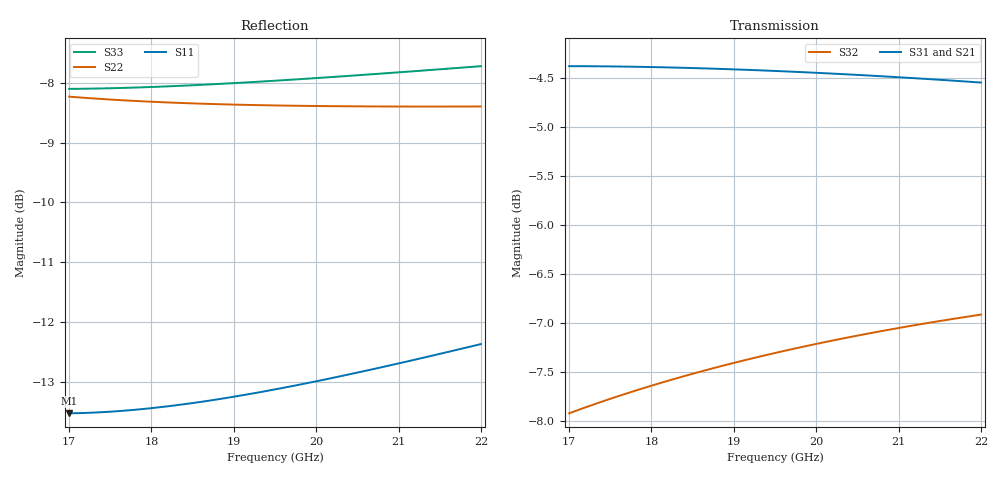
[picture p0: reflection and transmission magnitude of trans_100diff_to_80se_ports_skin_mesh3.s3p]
#  GHZ S DB R 50.0
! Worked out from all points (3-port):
!   51 points, 17 GHz to 22 GHz, reference 50 ohm
!   strongest paths, dB at 17 GHz, 18.2 GHz, 19.5 GHz, 20.8 GHz, 22 GHz:
!     S31: -4.4, -4.4, -4.4, -4.5, -4.5
!     S21: -4.6, -4.5, -4.5, -4.5, -4.5
!     S32: -7.9, -7.6, -7.3, -7.1, -6.9
!   lowest |S11| = -13.5 dB at 17 GHz (marker M1), VSWR 1.53, Z = 75.3 + j7.78 ohm
!   |S11| at or under -10 dB: start of sweep to end of sweep
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17  -13.53 13.6  -4.55 -174.5  -4.38 5.3
    -4.55 -174.5  -8.23 95.0  -7.92 72.6
    -4.38 5.3  -7.92 72.6  -8.10 92.1
17.3  -13.52 9.6  -4.54 -176.6  -4.38 3.3
      -4.54 -176.6  -8.26 92.1  -7.83 70.6
      -4.38 3.3  -7.83 70.6  -8.09 89.3
17.6  -13.49 5.9  -4.53 -178.8  -4.39 1.3
      -4.53 -178.8  -8.28 89.3  -7.75 68.6
      -4.39 1.3  -7.75 68.6  -8.08 86.6
18.2  -13.41 -1.3  -4.51 177.1  -4.39 -2.7
      -4.51 177.1  -8.33 84.1  -7.59 64.8
      -4.39 -2.7  -7.59 64.8  -8.06 81.5
18.8  -13.30 -8.1  -4.50 173.1  -4.41 -6.5
      -4.50 173.1  -8.35 79.2  -7.45 61.2
      -4.41 -6.5  -7.45 61.2  -8.02 76.7
19.5  -13.13 -15.3  -4.49 168.6  -4.43 -10.7
      -4.49 168.6  -8.38 74.0  -7.31 57.2
      -4.43 -10.7  -7.31 57.2  -7.96 71.6
20.1  -12.97 -21.2  -4.48 164.8  -4.45 -14.3
      -4.48 164.8  -8.39 69.8  -7.20 53.9
      -4.45 -14.3  -7.20 53.9  -7.91 67.6
20.7  -12.79 -26.6  -4.48 161.2  -4.48 -17.7
      -4.48 161.2  -8.39 66.0  -7.10 50.7
      -4.48 -17.7  -7.10 50.7  -7.85 63.8
21.3  -12.60 -31.8  -4.48 157.6  -4.51 -21.1
      -4.48 157.6  -8.39 62.4  -7.01 47.7
      -4.51 -21.1  -7.01 47.7  -7.79 60.3
22  -12.37 -37.4  -4.49 153.6  -4.55 -24.9
    -4.49 153.6  -8.39 58.5  -6.92 44.2
    -4.55 -24.9  -6.92 44.2  -7.72 56.5
